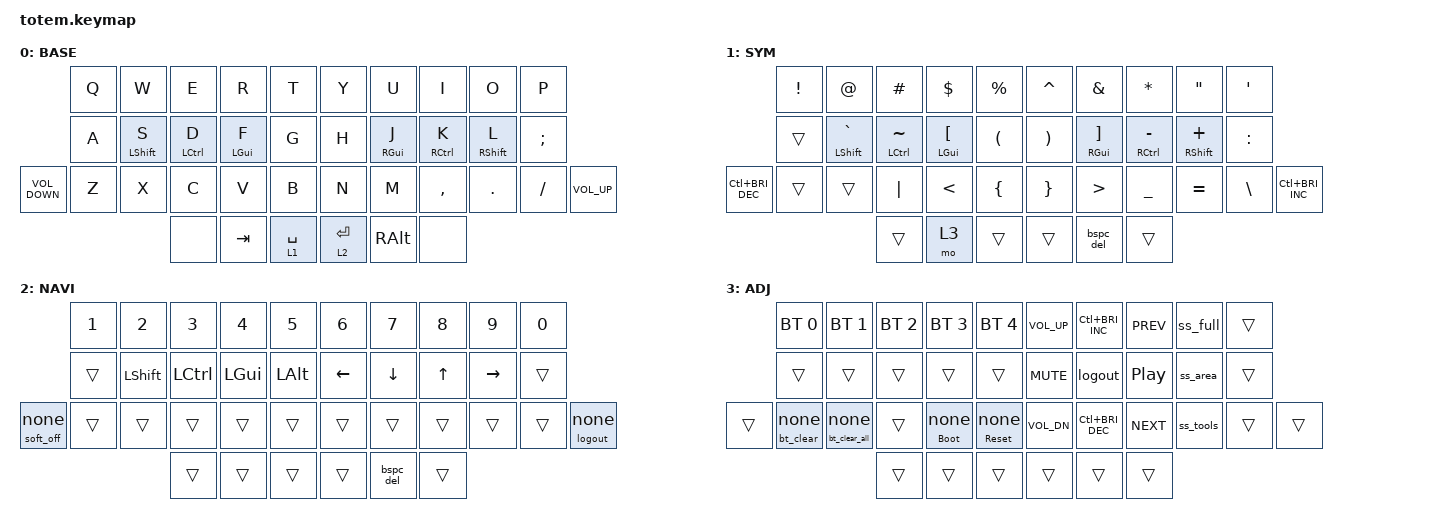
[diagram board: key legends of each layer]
//
//                                                        ▀▀▀▀▀     ▀▀▀▀▀          ▀▀█▀▀
//                                                        ▄▀▀▀▄  ▄  ▄▀▀▀▄  ▄  ▄▀▀▀▄  █  ▄▀▀▀▄
//                                                        █   █  █  █   █  █  █   █  █  █   █
//                                                         ▀▀▀   █   ▀▀▀   █   ▀▀▀   ▀   ▀▀▀
//                                                               █      ▄▄▄█▄▄▄    █   █  
//                                                               ▀      █  █  █     █▄█
//                                                             ▀▀▀▀▀    █  █  █      ▀
//                                                                      ▀  ▀  ▀
//
// ▄▄▄▄▄▄▄▄▄▄▄▄▄▄▄▄▄▄▄▄▄▄▄▄▄▄▄▄▄▄▄▄▄▄▄▄▄▄▄▄▄▄▄▄▄▄▄▄▄▄▄▄▄▄▄▄▄▄▄▄▄▄▄▄▄▄▄▄▄▄▄▄▄▄▄▄▄▄▄▄▄▄▄▄▄▄▄▄▄▄▄▄▄▄▄▄▄▄▄▄▄▄▄▄▄▄▄▄▄▄▄▄▄▄▄▄▄▄▄▄▄▄▄▄▄▄▄▄▄▄▄▄▄▄▄▄▄▄▄▄▄▄▄▄▄▄▄▄▄

#include <behaviors.dtsi>
#include <dt-bindings/zmk/bt.h>
#include <dt-bindings/zmk/keys.h>

#define BASE 0
#define NAV  1
#define SYM  2
#define ADJ  3
#define TVP1 4
#define TVP2 5

&mt {
    quick-tap-ms = <100>;
    global-quick-tap;
    flavor = "tap-preferred";
    tapping-term-ms = <250>;
};

&lt { tapping-term-ms = <250>; };

/ {
    combos {
        compatible = "zmk,combos";

        combo_esc_l {
            timeout-ms = <60>;
            key-positions = <11 12 13>;
            bindings = <&kp ESC>;
            layers = <0>;
        };

        combo_r_esc {
            bindings = <&kp ESC>;
            key-positions = <16 17 18>;
            timeout-ms = <60>;
            layers = <0>;
        };

        combo_bkspc {
            bindings = <&bspc_del>;
            key-positions = <9 8>;
        };

        combo_cycle_win {
            bindings = <&cmd_grave>;
            key-positions = <13 16>;
            timeout-ms = <50>;
        };

        combo_hyper_l {
            bindings = <&kp LA(LC(LS(LG(LEFT_GUI))))>;
            key-positions = <1 3>;
            slow-release;
        };

        combo_hyper_r {
            bindings = <&kp LA(LC(LS(LG(LEFT_GUI))))>;
            key-positions = <6 8>;
            slow-release;
        };

        combo_meh_l {
            bindings = <&kp LA(LC(LEFT_SHIFT))>;
            key-positions = <1 2 3>;
            slow-release;
        };

        combo_meh_r {
            bindings = <&kp LA(LC(LEFT_SHIFT))>;
            key-positions = <6 7 8>;
            slow-release;
        };
    };

    behaviors {
        hold_soft_off_3s: hold_soft_off_3s {
            compatible = "zmk,behavior-hold-tap";
            label = "HOLD_SOFT_OFF_3S";
            bindings = <&soft_off>, <&none>;

            #binding-cells = <2>;
            tapping-term-ms = <3000>;
            flavor = "tap-preferred";
        };

        hold_bootloader_3s: hold_bootloader_3s {
            compatible = "zmk,behavior-hold-tap";
            label = "HOLD_BOOTLOADER_3S";
            bindings = <&bootloader>, <&none>;

            #binding-cells = <2>;
            tapping-term-ms = <3000>;
            flavor = "tap-preferred";
        };

        hold_reset_3s: hold_reset_3s {
            compatible = "zmk,behavior-hold-tap";
            label = "HOLD_RESET_3S";
            bindings = <&sys_reset>, <&none>;

            #binding-cells = <2>;
            tapping-term-ms = <3000>;
            flavor = "tap-preferred";
        };

        hold_bt_3s: hold_bt_3s {
            compatible = "zmk,behavior-hold-tap";
            label = "HOLD_BT_3S";
            bindings = <&bt>, <&none>;

            #binding-cells = <2>;
            tapping-term-ms = <3000>;
            flavor = "tap-preferred";
        };

        hold_bt_clear_3s: hold_bt_clear_3s {
            compatible = "zmk,behavior-hold-tap";
            label = "HOLD_BT_CLEAR_3S";
            bindings = <&bt_clear>, <&none>;

            #binding-cells = <2>;
            tapping-term-ms = <3000>;
            flavor = "tap-preferred";
        };

        hold_bt_clear_all_10s: hold_bt_clear_all_10s {
            compatible = "zmk,behavior-hold-tap";
            label = "HOLD_BT_CLEAR_ALL_10S";
            bindings = <&bt_clear_all>, <&none>;

            #binding-cells = <2>;
            tapping-term-ms = <10000>;
            flavor = "tap-preferred";
        };

        hmrl: hmrl {
            compatible = "zmk,behavior-hold-tap";
            label = "HMR Left";
            bindings = <&kp>, <&kp>;

            #binding-cells = <2>;
            tapping-term-ms = <280>;
            quick-tap-ms = <175>;
            require-prior-idle-ms = <150>;
            flavor = "balanced";
            hold-trigger-on-release;
            hold-trigger-key-positions = <5 6 7 17 5 6 7 8 9 15 16 17 18 19 26 27 28 29 30 31 36 37 35>;
        };

        hmrr: hmrr {
            compatible = "zmk,behavior-hold-tap";
            label = "HMR Right";
            bindings = <&kp>, <&kp>;

            #binding-cells = <2>;
            hold-trigger-key-positions = <0 1 2 3 4 10 11 12 13 14 20 21 22 23 24 25 32 33 34>;
            tapping-term-ms = <280>;
            quick-tap-ms = <175>;
            require-prior-idle-ms = <150>;
            flavor = "balanced";
            hold-trigger-on-release;
        };

        bspc_del: bspc_del {
            compatible = "zmk,behavior-mod-morph";
            label = "BSPC_DEL";
            bindings = <&kp BACKSPACE>, <&kp DELETE>;

            #binding-cells = <0>;
            mods = <(MOD_LSFT|MOD_RSFT)>;
        };

        hold_logout_1s: hold_logout_1s {
            compatible = "zmk,behavior-hold-tap";
            label = "HOLD_LOGOUT_1S";
            bindings = <&logout>, <&none>;

            #binding-cells = <2>;
            tapping-term-ms = <1000>;
            flavor = "tap-preferred";
        };
    };

    macros {
        bt_clear: bt_clear {
            compatible = "zmk,behavior-macro";
            #binding-cells = <0>;
            bindings = <&bt BT_CLR>;
            label = "BT_CLEAR";
        };

        bt_clear_all: bt_clear_all {
            compatible = "zmk,behavior-macro";
            #binding-cells = <0>;
            bindings = <&bt BT_CLR_ALL>;
            label = "BT_CLEAR_ALL";
        };

        ss_full: ss_full {
            compatible = "zmk,behavior-macro";
            #binding-cells = <0>;
            bindings = <&kp LS(LG(NUMBER_3))>;
            label = "SS_FULL";
        };

        ss_area: ss_area {
            compatible = "zmk,behavior-macro";
            #binding-cells = <0>;
            bindings = <&kp LS(LG(NUMBER_4))>;
            label = "SS_AREA";
        };

        ss_tools: ss_tools {
            compatible = "zmk,behavior-macro";
            #binding-cells = <0>;
            bindings = <&kp LS(LG(N5))>;
            label = "SS_TOOLS";
        };

        cmd_grave: cmd_grave {
            compatible = "zmk,behavior-macro";
            #binding-cells = <0>;
            bindings = <&kp LG(GRAVE)>;
            label = "CMD_GRAVE";
        };

        logout: logout {
            compatible = "zmk,behavior-macro";
            #binding-cells = <0>;
            bindings = <&kp RG(RC(Q))>;
            label = "LOGOUT";
        };
    };

    keymap {
        compatible = "zmk,keymap";

        // ▄▄▄▄▄▄▄▄▄▄▄▄▄▄▄▄▄▄▄▄▄▄▄▄▄▄▄▄▄▄▄▄▄▄▄▄▄▄▄▄▄▄▄▄▄▄▄▄▄▄▄▄▄▄▄▄▄▄▄▄▄▄▄▄▄▄▄▄▄▄▄▄▄▄▄▄▄▄▄▄▄▄▄▄▄▄▄▄▄▄▄▄▄▄▄▄▄▄▄▄▄▄▄▄▄▄▄▄▄▄▄▄▄▄▄▄▄▄▄▄▄▄▄▄▄▄▄▄▄▄▄▄▄▄▄▄▄▄▄▄▄▄▄▄▄▄▄▄▄

        base_layer {
            // ┏━━━━━━━━━━━━━━━━━━━━━━━━━━━━━━━━━━━━━━━┓

            label = "BASE";

            // ┗━━━━━━━━━━━━━━━━━━━━━━━━━━━━━━━━━━━━━━━┛
            //             ┏━━━━━━━━━━━┳━━━━━━━━━━━┳━━━━━━━━━━━┳━━━━━━━━━━━┳━━━━━━━━━━━┓   ┏━━━━━━━━━━━┳━━━━━━━━━━━┳━━━━━━━━━━━┳━━━━━━━━━━━┳━━━━━━━━━━━┓
            //             ┃     Q     ┃     W     ┃     F     ┃     P     ┃     G     ┃   ┃     J     ┃     L     ┃     U     ┃     Y     ┃     ;     ┃
            //             ┣━━━━━━━━━━━╋━━━━━━━━━━━╋━━━━━━━━━━━╋━━━━━━━━━━━╋━━━━━━━━━━━┫   ┣━━━━━━━━━━━╋━━━━━━━━━━━╋━━━━━━━━━━━╋━━━━━━━━━━━╋━━━━━━━━━━━┫
            //             ┃     A     ┃     R     ┃     S     ┃     T     ┃     D     ┃   ┃     H     ┃     N     ┃     E     ┃     I     ┃     O     ┃
            // ┏━━━━━━━━━━━╋━━━━━━━━━━━╋━━━━━━━━━━━╋━━━━━━━━━━━╋━━━━━━━━━━━╋━━━━━━━━━━━┫   ┣━━━━━━━━━━━╋━━━━━━━━━━━╋━━━━━━━━━━━╋━━━━━━━━━━━╋━━━━━━━━━━━╋━━━━━━━━━━━┓
            // ┃     Q     ┃     Z     ┃     X     ┃     C     ┃     V     ┃     B     ┃   ┃     K     ┃     M     ┃     ,     ┃     .     ┃     /     ┃     \     ┃
            // ┗━━━━━━━━━━━┻━━━━━━━━━━━┻━━━━━━━━━━━╋━━━━━━━━━━━╋━━━━━━━━━━━╋━━━━━━━━━━━┫   ┣━━━━━━━━━━━╋━━━━━━━━━━━╋━━━━━━━━━━━╋━━━━━━━━━━━┻━━━━━━━━━━━┻━━━━━━━━━━━┛
            //                                     ┃    DEL    ┃    TAB    ┃    SPC    ┃   ┃   ENTER   ┃           ┃   BSPC    ┃
            //                                     ┗━━━━━━━━━━━┻━━━━━━━━━━━┻━━━━━━━━━━━┛   ┗━━━━━━━━━━━┻━━━━━━━━━━━┻━━━━━━━━━━━┛

            bindings = <
                   &kp Q  &kp W               &kp E          &kp R             &kp T          &kp Y        &kp U              &kp I          &kp O                &kp P
                   &kp A  &hmrl LEFT_SHIFT S  &hmrl LCTRL D  &hmrl LEFT_GUI F  &kp G          &kp H        &hmrr RIGHT_GUI J  &hmrr RCTRL K  &hmrr RIGHT_SHIFT L  &kp SEMI
&kp C_VOLUME_DOWN  &kp Z  &kp X               &kp C          &kp V             &kp B          &kp N        &kp M              &kp COMMA      &kp DOT              &kp FSLH  &kp C_VOLUME_UP
                                              &none          &kp TAB           &lt 1 SPACE    &lt 2 ENTER  &kp RIGHT_ALT      &none
            >;
        };

        symbol_layer {
            // ┏━━━━━━━━━━━━━━━━━━━━━━━━━━━━━━━━━━━━━━━┓

            label = "SYM";

            // ┗━━━━━━━━━━━━━━━━━━━━━━━━━━━━━━━━━━━━━━━┛
            //             ┏━━━━━━━━━━━┳━━━━━━━━━━━┳━━━━━━━━━━━┳━━━━━━━━━━━┳━━━━━━━━━━━┓   ┏━━━━━━━━━━━┳━━━━━━━━━━━┳━━━━━━━━━━━┳━━━━━━━━━━━┳━━━━━━━━━━━┓
            //             ┃     !     ┃     @     ┃     #     ┃     $     ┃     %     ┃   ┃     ˆ     ┃     &     ┃     Ü     ┃     '     ┃     "     ┃
            //             ┣━━━━━━━━━━━╋━━━━━━━━━━━╋━━━━━━━━━━━╋━━━━━━━━━━━╋━━━━━━━━━━━┫   ┣━━━━━━━━━━━╋━━━━━━━━━━━╋━━━━━━━━━━━╋━━━━━━━━━━━╋━━━━━━━━━━━┫
            //             ┃     Ä     ┃           ┃    SZ     ┃           ┃           ┃   ┃   MUTE    ┃   YEN     ┃   EURO    ┃  POUND    ┃     Ö     ┃
            // ┏━━━━━━━━━━━╋━━━━━━━━━━━╋━━━━━━━━━━━╋━━━━━━━━━━━╋━━━━━━━━━━━╋━━━━━━━━━━━┫   ┣━━━━━━━━━━━╋━━━━━━━━━━━╋━━━━━━━━━━━╋━━━━━━━━━━━╋━━━━━━━━━━━╋━━━━━━━━━━━┓
            // ┃           ┃  EMAIL1   ┃  EMAIL2   ┃           ┃           ┃           ┃   ┃   VOL-    ┃   VOL+    ┃   LAST    ┃   NEXT    ┃     \     ┃           ┃
            // ┗━━━━━━━━━━━┻━━━━━━━━━━━┻━━━━━━━━━━━╋━━━━━━━━━━━╋━━━━━━━━━━━╋━━━━━━━━━━━┫   ┣━━━━━━━━━━━╋━━━━━━━━━━━╋━━━━━━━━━━━╋━━━━━━━━━━━┻━━━━━━━━━━━┻━━━━━━━━━━━┛
            //                                     ┃           ┃    GIF    ┃    ADJ    ┃   ┃           ┃           ┃           ┃
            //                                     ┗━━━━━━━━━━━┻━━━━━━━━━━━┻━━━━━━━━━━━┛   ┗━━━━━━━━━━━┻━━━━━━━━━━━┻━━━━━━━━━━━┛

            bindings = <
                          &kp EXCL  &kp AT                  &kp HASH                  &kp DOLLAR                   &kp PERCENT             &kp CARET              &kp AMPERSAND                  &kp ASTERISK               &kp DOUBLE_QUOTES       &kp SQT
                          &trans    &hmrl LEFT_SHIFT GRAVE  &hmrl LEFT_CONTROL TILDE  &hmrl LEFT_GUI LEFT_BRACKET  &kp LEFT_PARENTHESIS    &kp RIGHT_PARENTHESIS  &hmrr RIGHT_GUI RIGHT_BRACKET  &hmrr RIGHT_CONTROL MINUS  &hmrr RIGHT_SHIFT PLUS  &kp COLON
&kp LC(C_BRIGHTNESS_DEC)  &trans    &trans                  &kp PIPE                  &kp LESS_THAN                &kp LEFT_BRACE          &kp RIGHT_BRACE        &kp GREATER_THAN               &kp UNDERSCORE             &kp EQUAL               &kp BSLH   &kp LC(C_BRIGHTNESS_INC)
                                                            &trans                    &mo 3                        &trans                  &trans                 &bspc_del                      &trans
            >;
        };

        nav_layer {
            // ┏━━━━━━━━━━━━━━━━━━━━━━━━━━━━━━━━━━━━━━━┓

            label = "NAVI";

            // ┗━━━━━━━━━━━━━━━━━━━━━━━━━━━━━━━━━━━━━━━┛
            //             ┏━━━━━━━━━━━┳━━━━━━━━━━━┳━━━━━━━━━━━┳━━━━━━━━━━━┳━━━━━━━━━━━┓   ┏━━━━━━━━━━━┳━━━━━━━━━━━┳━━━━━━━━━━━┳━━━━━━━━━━━┳━━━━━━━━━━━┓
            //             ┃           ┃           ┃     UP    ┃           ┃     {     ┃   ┃     }     ┃     7     ┃     8     ┃     9     ┃     +     ┃
            //             ┣━━━━━━━━━━━╋━━━━━━━━━━━╋━━━━━━━━━━━╋━━━━━━━━━━━╋━━━━━━━━━━━┫   ┣━━━━━━━━━━━╋━━━━━━━━━━━╋━━━━━━━━━━━╋━━━━━━━━━━━╋━━━━━━━━━━━┫
            //             ┃   SHIFT   ┃   LEFT    ┃    DOWN   ┃   RIGHT   ┃     [     ┃   ┃     ]     ┃     4     ┃     5     ┃     6     ┃     -     ┃
            // ┏━━━━━━━━━━━╋━━━━━━━━━━━╋━━━━━━━━━━━╋━━━━━━━━━━━╋━━━━━━━━━━━╋━━━━━━━━━━━┫   ┣━━━━━━━━━━━╋━━━━━━━━━━━╋━━━━━━━━━━━╋━━━━━━━━━━━╋━━━━━━━━━━━╋━━━━━━━━━━━┓
            // ┃           ┃           ┃   P UP    ┃  C LOCK   ┃  P DOWN   ┃     (     ┃   ┃     )     ┃     1     ┃     2     ┃     3     ┃     *     ┃           ┃
            // ┗━━━━━━━━━━━┻━━━━━━━━━━━┻━━━━━━━━━━━╋━━━━━━━━━━━╋━━━━━━━━━━━╋━━━━━━━━━━━┫   ┣━━━━━━━━━━━╋━━━━━━━━━━━╋━━━━━━━━━━━╋━━━━━━━━━━━┻━━━━━━━━━━━┻━━━━━━━━━━━┛
            //                                     ┃           ┃    TAB    ┃    SPC    ┃   ┃    DEL    ┃     0     ┃           ┃
            //                                     ┗━━━━━━━━━━━┻━━━━━━━━━━━┻━━━━━━━━━━━┛   ┗━━━━━━━━━━━┻━━━━━━━━━━━┻━━━━━━━━━━━┛

            bindings = <
                       &kp NUMBER_1  &kp NUMBER_2    &kp NUMBER_3      &kp NUMBER_4  &kp N5          &kp NUMBER_6  &kp N7     &kp N8        &kp N9     &kp N0
                       &trans        &kp LEFT_SHIFT  &kp LEFT_CONTROL  &kp LEFT_GUI  &kp LEFT_ALT    &kp LEFT      &kp DOWN   &kp UP_ARROW  &kp RIGHT  &trans
&hold_soft_off_3s 0 0  &trans        &trans          &trans            &trans        &trans          &trans        &trans     &trans        &trans     &trans  &hold_logout_1s 0 0
                                                     &trans            &trans        &trans          &trans        &bspc_del  &trans
            >;
        };

        adjust_layer {
            // ┏━━━━━━━━━━━━━━━━━━━━━━━━━━━━━━━━━━━━━━━┓

            label = "ADJ";

            // ┗━━━━━━━━━━━━━━━━━━━━━━━━━━━━━━━━━━━━━━━┛
            //             ┏━━━━━━━━━━━┳━━━━━━━━━━━┳━━━━━━━━━━━┳━━━━━━━━━━━┳━━━━━━━━━━━┓   ┏━━━━━━━━━━━┳━━━━━━━━━━━┳━━━━━━━━━━━┳━━━━━━━━━━━┳━━━━━━━━━━━┓
            //             ┃   RESET   ┃ BT CLEAR  ┃  OUT TOG  ┃           ┃           ┃   ┃           ┃    F7     ┃    F8     ┃    F9     ┃    F12    ┃
            //             ┣━━━━━━━━━━━╋━━━━━━━━━━━╋━━━━━━━━━━━╋━━━━━━━━━━━╋━━━━━━━━━━━┫   ┣━━━━━━━━━━━╋━━━━━━━━━━━╋━━━━━━━━━━━╋━━━━━━━━━━━╋━━━━━━━━━━━┫
            //             ┃ BOOTLOAD  ┃ BT NEXT   ┃           ┃           ┃           ┃   ┃           ┃    F4     ┃    F5     ┃    F6     ┃    F11    ┃
            // ┏━━━━━━━━━━━╋━━━━━━━━━━━╋━━━━━━━━━━━╋━━━━━━━━━━━╋━━━━━━━━━━━╋━━━━━━━━━━━┫   ┣━━━━━━━━━━━╋━━━━━━━━━━━╋━━━━━━━━━━━╋━━━━━━━━━━━╋━━━━━━━━━━━╋━━━━━━━━━━━┓
            // ┃           ┃           ┃ BT PREV   ┃           ┃           ┃           ┃   ┃           ┃    F1     ┃    F2     ┃    F3     ┃    F10    ┃           ┃
            // ┗━━━━━━━━━━━┻━━━━━━━━━━━┻━━━━━━━━━━━╋━━━━━━━━━━━╋━━━━━━━━━━━╋━━━━━━━━━━━┫   ┣━━━━━━━━━━━╋━━━━━━━━━━━╋━━━━━━━━━━━╋━━━━━━━━━━━┻━━━━━━━━━━━┻━━━━━━━━━━━┛
            //                                     ┃           ┃           ┃           ┃   ┃           ┃           ┃           ┃
            //                                     ┗━━━━━━━━━━━┻━━━━━━━━━━━┻━━━━━━━━━━━┛   ┗━━━━━━━━━━━┻━━━━━━━━━━━┻━━━━━━━━━━━┛

            bindings = <
        &bt BT_SEL 0           &bt BT_SEL 1                &bt BT_SEL 2  &bt BT_SEL 3             &bt BT_SEL 4          &kp C_VOLUME_UP  &kp LC(C_BRIGHTNESS_INC)  &kp C_PREV  &ss_full   &trans
        &trans                 &trans                      &trans        &trans                   &trans                &kp C_MUTE       &logout                   &kp C_PP    &ss_area   &trans
&trans  &hold_bt_clear_3s 0 0  &hold_bt_clear_all_10s 0 0  &trans        &hold_bootloader_3s 0 0  &hold_reset_3s 0 0    &kp C_VOL_DN     &kp LC(C_BRIGHTNESS_DEC)  &kp C_NEXT  &ss_tools  &trans  &trans
                                                           &trans        &trans                   &trans                &trans           &trans                    &trans
            >;
        };
    };
};
